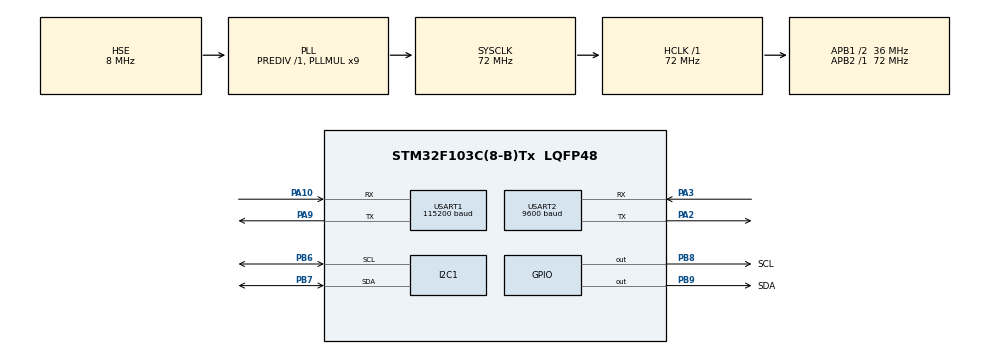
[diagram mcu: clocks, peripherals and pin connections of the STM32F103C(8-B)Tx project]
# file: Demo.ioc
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Dma.Request0=USART1_TX
Dma.Request1=USART2_TX
Dma.Request2=USART1_RX
Dma.USART1_RX.2.Direction=DMA_PERIPH_TO_MEMORY
Dma.USART1_RX.2.Instance=DMA1_Channel5
Dma.USART1_RX.2.MemDataAlignment=DMA_MDATAALIGN_BYTE
Dma.USART1_RX.2.MemInc=DMA_MINC_ENABLE
Dma.USART1_RX.2.Mode=DMA_NORMAL
Dma.USART1_RX.2.PeriphDataAlignment=DMA_PDATAALIGN_BYTE
Dma.USART1_RX.2.PeriphInc=DMA_PINC_DISABLE
Dma.USART1_RX.2.Priority=DMA_PRIORITY_LOW
Dma.USART1_TX.0.Direction=DMA_MEMORY_TO_PERIPH
Dma.USART1_TX.0.Instance=DMA1_Channel4
Dma.USART1_TX.0.MemDataAlignment=DMA_MDATAALIGN_BYTE
Dma.USART1_TX.0.MemInc=DMA_MINC_ENABLE
Dma.USART1_TX.0.Mode=DMA_NORMAL
Dma.USART1_TX.0.PeriphDataAlignment=DMA_PDATAALIGN_BYTE
Dma.USART1_TX.0.PeriphInc=DMA_PINC_DISABLE
Dma.USART1_TX.0.Priority=DMA_PRIORITY_HIGH
Dma.USART2_TX.1.Direction=DMA_MEMORY_TO_PERIPH
Dma.USART2_TX.1.Instance=DMA1_Channel7
Dma.USART2_TX.1.MemDataAlignment=DMA_MDATAALIGN_BYTE
Dma.USART2_TX.1.MemInc=DMA_MINC_ENABLE
Dma.USART2_TX.1.Mode=DMA_NORMAL
Dma.USART2_TX.1.PeriphDataAlignment=DMA_PDATAALIGN_BYTE
Dma.USART2_TX.1.PeriphInc=DMA_PINC_DISABLE
Dma.USART2_TX.1.Priority=DMA_PRIORITY_MEDIUM
I2C1.I2C_Mode=I2C_Fast
Mcu.Family=STM32F1
Mcu.Name=STM32F103C(8-B)Tx
Mcu.Package=LQFP48
NVIC.DMA1_Channel4_IRQn=true\:0\:0\:false\:false\:true\:false\:true\:true
NVIC.DMA1_Channel5_IRQn=true\:0\:0\:false\:false\:true\:false\:true\:true
NVIC.DMA1_Channel7_IRQn=true\:9\:0\:true\:false\:true\:false\:true\:true
NVIC.PriorityGroup=NVIC_PRIORITYGROUP_4
NVIC.USART1_IRQn=true\:0\:0\:false\:false\:true\:true\:true\:true
NVIC.USART2_IRQn=true\:0\:0\:false\:false\:true\:true\:true\:true
PA10.Mode=Asynchronous
PA10.Signal=USART1_RX
PA13.Mode=Serial_Wire
PA13.Signal=SYS_JTMS-SWDIO
PA14.Mode=Serial_Wire
PA14.Signal=SYS_JTCK-SWCLK
PA2.Mode=Asynchronous
PA2.Signal=USART2_TX
PA3.Mode=Asynchronous
PA3.Signal=USART2_RX
PA9.Mode=Asynchronous
PA9.Signal=USART1_TX
PB6.Mode=I2C
PB6.Signal=I2C1_SCL
PB7.Mode=I2C
PB7.Signal=I2C1_SDA
PB8.GPIO_Label=SCL
PB8.Signal=GPIO_Output
PB9.GPIO_Label=SDA
PB9.Signal=GPIO_Output
PC14-OSC32_IN.Mode=LSE-External-Oscillator
PC14-OSC32_IN.Signal=RCC_OSC32_IN
PC15-OSC32_OUT.Mode=LSE-External-Oscillator
PC15-OSC32_OUT.Signal=RCC_OSC32_OUT
PD0-OSC_IN.Mode=HSE-External-Oscillator
PD0-OSC_IN.Signal=RCC_OSC_IN
PD1-OSC_OUT.Mode=HSE-External-Oscillator
PD1-OSC_OUT.Signal=RCC_OSC_OUT
ProjectManager.HeapSize=0x200
ProjectManager.StackSize=0x400
ProjectManager.TargetToolchain=MDK-ARM V5.32
RCC.AHBFreq_Value=72000000
RCC.APB1CLKDivider=RCC_HCLK_DIV2
RCC.APB1Freq_Value=36000000
RCC.APB1TimFreq_Value=72000000
RCC.APB2Freq_Value=72000000
RCC.APB2TimFreq_Value=72000000
RCC.HCLKFreq_Value=72000000
RCC.PLLMUL=RCC_PLL_MUL9
RCC.PLLSourceVirtual=RCC_PLLSOURCE_HSE
RCC.SYSCLKFreq_VALUE=72000000
RCC.SYSCLKSource=RCC_SYSCLKSOURCE_PLLCLK
RCC.USBFreq_Value=72000000
USART1.BaudRate=115200
USART1.VirtualMode=VM_ASYNC
USART2.BaudRate=9600
USART2.VirtualMode=VM_ASYNC
board=custom

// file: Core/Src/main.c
/* USER CODE BEGIN Header */
/**
  ******************************************************************************
  * @file           : main.c
  * @brief          : Main program body
  ******************************************************************************
  * @attention
  *
  * Copyright (c) 2023 STMicroelectronics.
  * All rights reserved.
  *
  * This software is licensed under terms that can be found in the LICENSE file
  * in the root directory of this software component.
  * If no LICENSE file comes with this software, it is provided AS-IS.
  *
  ******************************************************************************
  */
/* USER CODE END Header */
#include "main.h"
#include "dma.h"
#include "i2c.h"
#include "usart.h"
#include "gpio.h"

/* USER CODE BEGIN Includes */
#include "esp8266.h"
#include "onenet.h"
#include "mpu6050.h"
#include "inv_mpu.h"
#include "inv_mpu_dmp_motion_driver.h"
#include "pca9548.h"
#include <string.h>
#include "OLED.h"
/* USER CODE END Includes */

/* USER CODE BEGIN PV */
float pitch, roll, yaw;
uint8_t txBuf[50];
uint8_t dataget=0;
//10个关节
int32_t head=-30,body=40,body_y=0,body_z=0,leftback0=-30,leftback0_z=0,leftback1=60,leftforward0=30,leftforward0_z=0,leftforward1=-30;
int32_t rightback0=-30,rightback0_z=0,rightback1=60,rightforward0=30,rightforward0_z=0,rightforward1=-30;
/* USER CODE END PV */

void SystemClock_Config(void);
/* USER CODE BEGIN PFP */
extern uint8_t Uart1_RxData;	//接收中断缓冲
/* USER CODE END PFP */

/* USER CODE BEGIN 0 */
void sentData_Uart(uint8_t port);
/* USER CODE END 0 */

int main(void)
{

  /* USER CODE BEGIN 1 */

	uint8_t i;
	uint8_t j;

  /* USER CODE END 1 */

  /* MCU Configuration--------------------------------------------------------*/

  /* Reset of all peripherals, Initializes the Flash interface and the Systick. */
  HAL_Init();

  /* Configure the system clock */
  SystemClock_Config();

  /* Initialize all configured peripherals */
  MX_GPIO_Init();
  MX_DMA_Init();
  MX_I2C1_Init();
  MX_USART1_UART_Init();
  MX_USART2_UART_Init();
  /* USER CODE BEGIN 2 */
	HAL_UART_Receive_IT(&huart1,(uint8_t *)&Uart1_RxData, 1);//开启串口中断
	HAL_Delay(100);
	OLED_Init();
	HAL_Delay(100);
  OLED_Clear();
//		/* esp8266连接wifi+连接Onenet */
//	HAL_Delay(500);
//	ESP8266_Init();					//初始化ESP8266，连接wifi
//	HAL_Delay(1000);
//

//	while(OneNet_DevLink())			//连接OneNET
//	HAL_Delay(2000);

	for(i = 1; i < 6; i++)
	{
		selectPort(i);
		MPU_Init(); //初始化MPU6050
		OLED_Clear();OLED_ShowString(1,1,"MPU");
		OLED_ShowNum(1,4,i,1);

		while(mpu_dmp_init()) //DMP初始化
		{
			printf("MPU%d DMP failed.Err code：%d\r\n", i, mpu_dmp_init());
			OLED_ShowString(1,6,"Err");
		}
		printf("MPU%d int ok\r\n",i);
		OLED_ShowString(1,6,"init ok...");
	}
	HAL_Delay(1000);
	printf("System int ok\r\n");
	HAL_Delay(1000);

  /* USER CODE END 2 */

  /* Infinite loop */
  while (1)
  {

    /* USER CODE BEGIN 3 */
		//踩坑：循环几次在上报数据。不然会拉低读取速率FIFO溢出

		for(j = 0; j < 3; j++)
		{
//	  sentData_Uart(0);
	  sentData_Uart(1);
		sentData_Uart(2);
	  sentData_Uart(3);
	  sentData_Uart(4);
		sentData_Uart(5);
//		sentData_Uart(6);
//		sentData_Uart(7);
		}
		dataget=1;
		HAL_Delay(100);
		if(dataget==1){
		//之前放定时器里也卡死，后面没有试过了
		OneNet_SendData();	//发送数据
		ESP8266_Clear();	//清空数据缓存区
		dataget=0;
		HAL_Delay(100);	//0.1s发送一次
		}
  }
  /* USER CODE END 3 */
}

void SystemClock_Config(void)
{
  RCC_OscInitTypeDef RCC_OscInitStruct = {0};
  RCC_ClkInitTypeDef RCC_ClkInitStruct = {0};

  /** Initializes the RCC Oscillators according to the specified parameters
  * in the RCC_OscInitTypeDef structure.
  */
  RCC_OscInitStruct.OscillatorType = RCC_OSCILLATORTYPE_HSE;
  RCC_OscInitStruct.HSEState = RCC_HSE_ON;
  RCC_OscInitStruct.HSEPredivValue = RCC_HSE_PREDIV_DIV1;
  RCC_OscInitStruct.HSIState = RCC_HSI_ON;
  RCC_OscInitStruct.PLL.PLLState = RCC_PLL_ON;
  RCC_OscInitStruct.PLL.PLLSource = RCC_PLLSOURCE_HSE;
  RCC_OscInitStruct.PLL.PLLMUL = RCC_PLL_MUL9;
  if (HAL_RCC_OscConfig(&RCC_OscInitStruct) != HAL_OK)
  {
    Error_Handler();
  }

  /** Initializes the CPU, AHB and APB buses clocks
  */
  RCC_ClkInitStruct.ClockType = RCC_CLOCKTYPE_HCLK|RCC_CLOCKTYPE_SYSCLK
                              |RCC_CLOCKTYPE_PCLK1|RCC_CLOCKTYPE_PCLK2;
  RCC_ClkInitStruct.SYSCLKSource = RCC_SYSCLKSOURCE_PLLCLK;
  RCC_ClkInitStruct.AHBCLKDivider = RCC_SYSCLK_DIV1;
  RCC_ClkInitStruct.APB1CLKDivider = RCC_HCLK_DIV2;
  RCC_ClkInitStruct.APB2CLKDivider = RCC_HCLK_DIV1;

  if (HAL_RCC_ClockConfig(&RCC_ClkInitStruct, FLASH_LATENCY_2) != HAL_OK)
  {
    Error_Handler();
  }
}

/* USER CODE BEGIN 4 */
void sentData_Uart(uint8_t port)
{
	selectPort(port);
	if(mpu_dmp_get_data(&pitch, &roll, &yaw)==0){
		while(huart2.gState == HAL_UART_STATE_BUSY_TX);
		memset(txBuf, 0x00, sizeof(txBuf));
		snprintf((char *)txBuf,sizeof(txBuf),"P%d:%.3f,%.3f,%.3f,\r\n",port,pitch,roll,yaw);
		HAL_UART_Transmit_DMA(&huart2,txBuf,sizeof(txBuf));
		switch(port)
		{

			case 1:
				leftback0=(int)roll;leftback0_z=(int)pitch;
				break;
			case 2:
				rightback0=(int)roll;rightback0_z=(int)pitch;
				break;
			case 3:
				leftforward0=(int)roll;leftforward0_z=(int)pitch;
				break;
			case 4:
				rightforward0=(int)roll;rightforward0_z=(int)pitch;
				break;
			case 5:
				body=(int)roll;body_y=(int)yaw;body_z=(int)pitch;
				break;
      default:
        break;
		}
	}
}
/* USER CODE END 4 */

void Error_Handler(void)
{
  __disable_irq();
  while (1)
  {
  }
}
